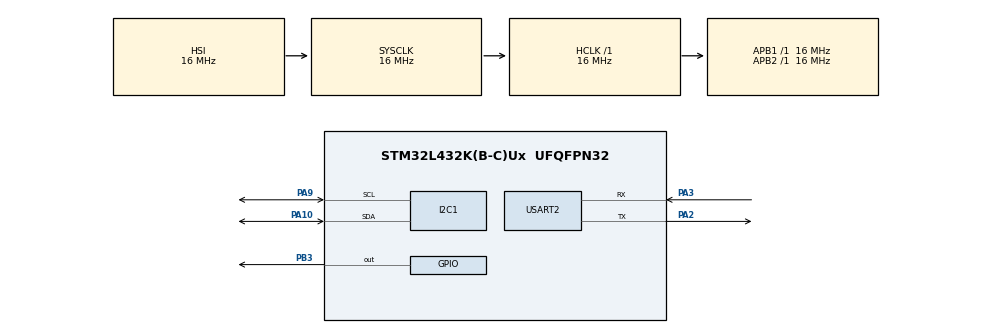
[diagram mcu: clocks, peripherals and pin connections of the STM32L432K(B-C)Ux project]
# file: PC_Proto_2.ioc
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I2C1.Timing=0x00303D5B
Mcu.Family=STM32L4
Mcu.Name=STM32L432K(B-C)Ux
Mcu.Package=UFQFPN32
NVIC.PriorityGroup=NVIC_PRIORITYGROUP_4
PA10.Mode=I2C
PA10.Signal=I2C1_SDA
PA13\ (JTMS-SWDIO).Mode=Serial_Wire
PA13\ (JTMS-SWDIO).Signal=SYS_JTMS-SWDIO
PA14\ (JTCK-SWCLK).Mode=Serial_Wire
PA14\ (JTCK-SWCLK).Signal=SYS_JTCK-SWCLK
PA2.Mode=Asynchronous
PA2.Signal=USART2_TX
PA3.Mode=Asynchronous
PA3.Signal=USART2_RX
PA9.Mode=I2C
PA9.Signal=I2C1_SCL
PB3\ (JTDO-TRACESWO).Signal=GPIO_Output
ProjectManager.HeapSize=0x200
ProjectManager.StackSize=0x400
ProjectManager.TargetToolchain=STM32CubeIDE
RCC.ADCFreq_Value=64000000
RCC.AHBFreq_Value=16000000
RCC.APB1Freq_Value=16000000
RCC.APB1TimFreq_Value=16000000
RCC.APB2Freq_Value=16000000
RCC.APB2TimFreq_Value=16000000
RCC.CortexFreq_Value=16000000
RCC.HCLKFreq_Value=16000000
RCC.HSE_VALUE=8000000
RCC.HSI48_VALUE=48000000
RCC.HSI_VALUE=16000000
RCC.LSE_VALUE=32768
RCC.MSI_VALUE=4000000
RCC.PLLSourceVirtual=RCC_PLLSOURCE_HSI
RCC.SYSCLKFreq_VALUE=16000000
RCC.SYSCLKSource=RCC_SYSCLKSOURCE_HSI
RCC.USBFreq_Value=64000000
RCC.VCOOutputFreq_Value=128000000
USART2.VirtualMode-Asynchronous=VM_ASYNC
board=custom

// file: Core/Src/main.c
/* USER CODE BEGIN Header */
/**
  ******************************************************************************
  * @file           : main.c
  * @brief          : Main program body
  ******************************************************************************
  * @attention
  *
  * <h2><center>&copy; Copyright (c) 2020 STMicroelectronics.
  * All rights reserved.</center></h2>
  *
  * This software component is licensed by ST under BSD 3-Clause license,
  * the "License"; You may not use this file except in compliance with the
  * License. You may obtain a copy of the License at:
  *                        opensource.org/licenses/BSD-3-Clause
  *
  ******************************************************************************
  */
/* USER CODE END Header */

#include "main.h"

/* USER CODE BEGIN Includes */
#include "stdio.h"
#include "../../Drivers/Libraries/DoorSensor/DoorSensor.h"
/* USER CODE END Includes */

I2C_HandleTypeDef hi2c1;

UART_HandleTypeDef huart2;

void SystemClock_Config(void);
static void MX_GPIO_Init(void);
static void MX_I2C1_Init(void);
static void MX_USART2_UART_Init(void);

int main(void)
{

  /* MCU Configuration--------------------------------------------------------*/

  /* Reset of all peripherals, Initializes the Flash interface and the Systick. */
  HAL_Init();

  /* Configure the system clock */
  SystemClock_Config();

  /* Initialize all configured peripherals */
  MX_GPIO_Init();
  MX_I2C1_Init();
  MX_USART2_UART_Init();
  /* USER CODE BEGIN 2 */
  DoorSensor_Init();
  /* USER CODE END 2 */

  /* Infinite loop */
  while (1)
  {

    /* USER CODE BEGIN 3 */

	  DoorSensor_Tasks();

		static int32_t prevCounter = 0;

		if(prevCounter != PplCounter){

			printf("AT+CNTR=%d,%d,%d\n\r",PplCounter, PplEntry, PplExit);
			HAL_GPIO_TogglePin(GPIOB, GPIO_PIN_3);
			prevCounter = PplCounter;

		}
  }
  /* USER CODE END 3 */
}

void SystemClock_Config(void)
{
  RCC_OscInitTypeDef RCC_OscInitStruct = {0};
  RCC_ClkInitTypeDef RCC_ClkInitStruct = {0};
  RCC_PeriphCLKInitTypeDef PeriphClkInit = {0};

  /** Initializes the CPU, AHB and APB busses clocks
  */
  RCC_OscInitStruct.OscillatorType = RCC_OSCILLATORTYPE_HSI;
  RCC_OscInitStruct.HSIState = RCC_HSI_ON;
  RCC_OscInitStruct.HSICalibrationValue = RCC_HSICALIBRATION_DEFAULT;
  RCC_OscInitStruct.PLL.PLLState = RCC_PLL_NONE;
  if (HAL_RCC_OscConfig(&RCC_OscInitStruct) != HAL_OK)
  {
    Error_Handler();
  }
  /** Initializes the CPU, AHB and APB busses clocks
  */
  RCC_ClkInitStruct.ClockType = RCC_CLOCKTYPE_HCLK|RCC_CLOCKTYPE_SYSCLK
                              |RCC_CLOCKTYPE_PCLK1|RCC_CLOCKTYPE_PCLK2;
  RCC_ClkInitStruct.SYSCLKSource = RCC_SYSCLKSOURCE_HSI;
  RCC_ClkInitStruct.AHBCLKDivider = RCC_SYSCLK_DIV1;
  RCC_ClkInitStruct.APB1CLKDivider = RCC_HCLK_DIV1;
  RCC_ClkInitStruct.APB2CLKDivider = RCC_HCLK_DIV1;

  if (HAL_RCC_ClockConfig(&RCC_ClkInitStruct, FLASH_LATENCY_0) != HAL_OK)
  {
    Error_Handler();
  }
  PeriphClkInit.PeriphClockSelection = RCC_PERIPHCLK_USART2|RCC_PERIPHCLK_I2C1;
  PeriphClkInit.Usart2ClockSelection = RCC_USART2CLKSOURCE_PCLK1;
  PeriphClkInit.I2c1ClockSelection = RCC_I2C1CLKSOURCE_PCLK1;
  if (HAL_RCCEx_PeriphCLKConfig(&PeriphClkInit) != HAL_OK)
  {
    Error_Handler();
  }
  /** Configure the main internal regulator output voltage
  */
  if (HAL_PWREx_ControlVoltageScaling(PWR_REGULATOR_VOLTAGE_SCALE1) != HAL_OK)
  {
    Error_Handler();
  }
}

static void MX_I2C1_Init(void)
{

  hi2c1.Instance = I2C1;
  hi2c1.Init.Timing = 0x00303D5B;
  hi2c1.Init.OwnAddress1 = 0;
  hi2c1.Init.AddressingMode = I2C_ADDRESSINGMODE_7BIT;
  hi2c1.Init.DualAddressMode = I2C_DUALADDRESS_DISABLE;
  hi2c1.Init.OwnAddress2 = 0;
  hi2c1.Init.OwnAddress2Masks = I2C_OA2_NOMASK;
  hi2c1.Init.GeneralCallMode = I2C_GENERALCALL_DISABLE;
  hi2c1.Init.NoStretchMode = I2C_NOSTRETCH_DISABLE;
  if (HAL_I2C_Init(&hi2c1) != HAL_OK)
  {
    Error_Handler();
  }
  /** Configure Analogue filter
  */
  if (HAL_I2CEx_ConfigAnalogFilter(&hi2c1, I2C_ANALOGFILTER_ENABLE) != HAL_OK)
  {
    Error_Handler();
  }
  /** Configure Digital filter
  */
  if (HAL_I2CEx_ConfigDigitalFilter(&hi2c1, 0) != HAL_OK)
  {
    Error_Handler();
  }

}

static void MX_USART2_UART_Init(void)
{

  huart2.Instance = USART2;
  huart2.Init.BaudRate = 115200;
  huart2.Init.WordLength = UART_WORDLENGTH_8B;
  huart2.Init.StopBits = UART_STOPBITS_1;
  huart2.Init.Parity = UART_PARITY_NONE;
  huart2.Init.Mode = UART_MODE_TX_RX;
  huart2.Init.HwFlowCtl = UART_HWCONTROL_NONE;
  huart2.Init.OverSampling = UART_OVERSAMPLING_16;
  huart2.Init.OneBitSampling = UART_ONE_BIT_SAMPLE_DISABLE;
  huart2.AdvancedInit.AdvFeatureInit = UART_ADVFEATURE_NO_INIT;
  if (HAL_UART_Init(&huart2) != HAL_OK)
  {
    Error_Handler();
  }

}

static void MX_GPIO_Init(void)
{
  GPIO_InitTypeDef GPIO_InitStruct = {0};

  /* GPIO Ports Clock Enable */
  __HAL_RCC_GPIOA_CLK_ENABLE();
  __HAL_RCC_GPIOB_CLK_ENABLE();

  /*Configure GPIO pin Output Level */
  HAL_GPIO_WritePin(GPIOB, GPIO_PIN_3, GPIO_PIN_RESET);

  /*Configure GPIO pin : PB3 */
  GPIO_InitStruct.Pin = GPIO_PIN_3;
  GPIO_InitStruct.Mode = GPIO_MODE_OUTPUT_PP;
  GPIO_InitStruct.Pull = GPIO_NOPULL;
  GPIO_InitStruct.Speed = GPIO_SPEED_FREQ_LOW;
  HAL_GPIO_Init(GPIOB, &GPIO_InitStruct);

}

/* USER CODE BEGIN 4 */
int __io_putchar(int ch)
{
 uint8_t c[1];
 c[0] = ch & 0x00FF;
 HAL_UART_Transmit(&huart2, &*c, 1, 10);
 return ch;
}

int _write(int file,char *ptr, int len)
{
 int DataIdx;
 for(DataIdx= 0; DataIdx< len; DataIdx++)
 {
 __io_putchar(*ptr++);
 }
return len;
}
/* USER CODE END 4 */

void Error_Handler(void)
{
}

/************************ (C) COPYRIGHT STMicroelectronics *****END OF FILE****/
